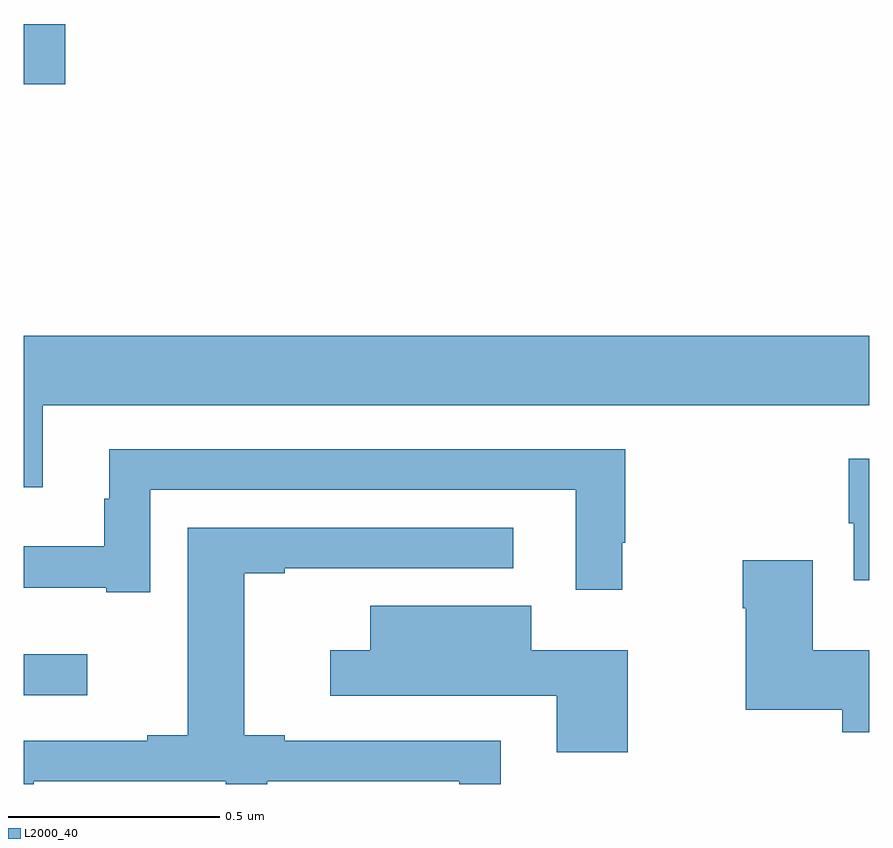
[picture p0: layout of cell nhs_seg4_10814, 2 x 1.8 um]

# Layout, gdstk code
import gdstk
lib = gdstk.Library(unit=1e-6, precision=1e-09)
def R(c, l, rs):  # rectangles x0, y0, x1, y1
    for r in rs: c.add(gdstk.rectangle(r[:2], r[2:], *l))
def P(c, l, *ps):  # polygons
    for p in ps: c.add(gdstk.Polygon(p, *l))
L2000_40 = (2000, 40)

nhs_seg4_10814 = lib.new_cell('nhs_seg4_10814')
R(nhs_seg4_10814, L2000_40, [(244,820.11,244.15,820.207), (244,821.555,244.099,821.697)])
P(nhs_seg4_10814, L2000_40, [(244.045,820.796),(246,820.796),(246,820.96),(244,820.96),(244,820.602),(244.045,820.602)],
  [(244.299,820.596),(245.306,820.596),(245.306,820.359),(245.416,820.359),(245.416,820.471),(245.423,820.471),(245.423,820.692),(244.202,820.692),(244.202,820.574),(244.191,820.574),(244.191,820.462),(244,820.462),(244,820.364),(244.196,820.364),(244.196,820.353),(244.299,820.353)],
  [(246,820.669),(245.951,820.669),(245.951,820.516),(245.963,820.516),(245.963,820.382),(246,820.382)],
  [(244.024,819.906),(244.478,819.906),(244.478,819.9),(244.576,819.9),(244.576,819.906),(245.03,819.906),(245.03,819.9),(245.128,819.9),(245.128,820.002),(244.618,820.002),(244.618,820.015),(244.522,820.015),(244.522,820.398),(244.618,820.398),(244.618,820.41),(245.158,820.41),(245.158,820.506),(244.388,820.506),(244.388,820.015),(244.292,820.015),(244.292,820.002),(244,820.002),(244,819.9),(244.024,819.9)],
  [(246,820.216),(245.866,820.216),(245.866,820.429),(245.701,820.429),(245.701,820.316),(245.708,820.316),(245.708,820.076),(245.936,820.076),(245.936,820.022),(246,820.022)],
  [(245.428,820.216),(245.2,820.216),(245.2,820.321),(244.82,820.321),(244.82,820.216),(244.725,820.216),(244.725,820.109),(245.261,820.109),(245.261,819.975),(245.428,819.975)])

lib.write_gds('nhs_seg4_10814.gds')
